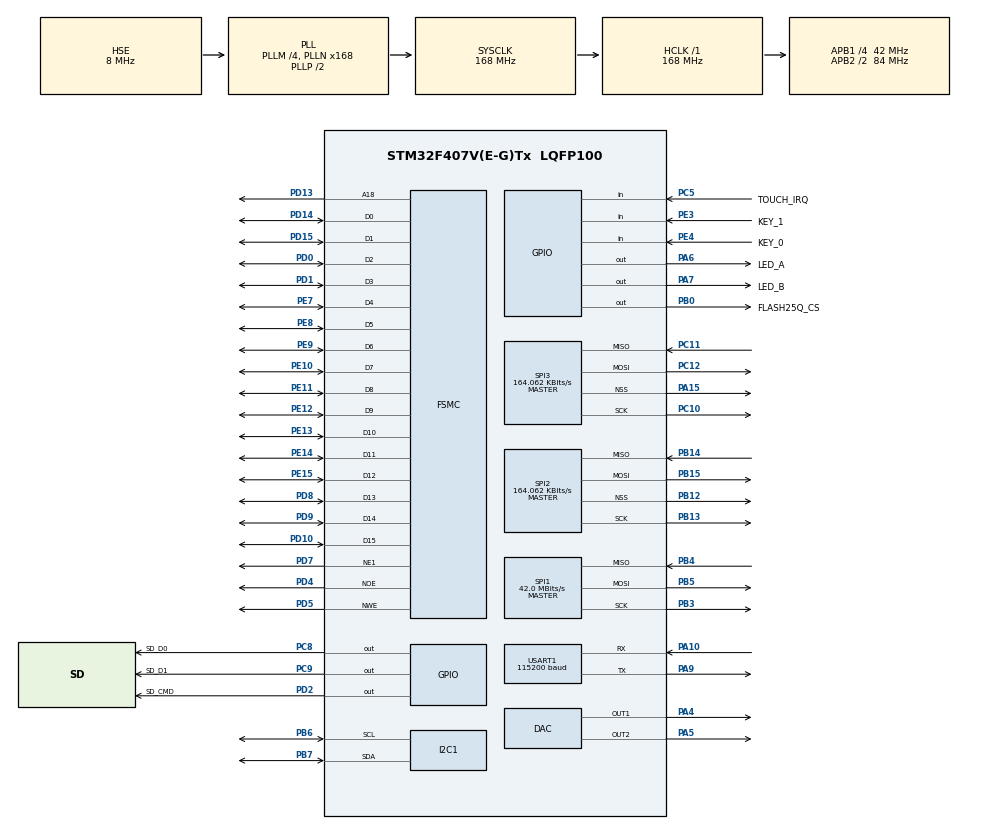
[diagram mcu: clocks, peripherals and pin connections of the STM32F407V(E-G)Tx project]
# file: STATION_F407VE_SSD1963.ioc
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DAC.DAC_Trigger=DAC_TRIGGER_T6_TRGO
DAC.DAC_Trigger2=DAC_TRIGGER_T7_TRGO
Dma.DAC1.0.Direction=DMA_MEMORY_TO_PERIPH
Dma.DAC1.0.FIFOMode=DMA_FIFOMODE_DISABLE
Dma.DAC1.0.Instance=DMA1_Stream5
Dma.DAC1.0.MemDataAlignment=DMA_MDATAALIGN_WORD
Dma.DAC1.0.MemInc=DMA_MINC_ENABLE
Dma.DAC1.0.Mode=DMA_CIRCULAR
Dma.DAC1.0.PeriphDataAlignment=DMA_PDATAALIGN_WORD
Dma.DAC1.0.PeriphInc=DMA_PINC_DISABLE
Dma.DAC1.0.Priority=DMA_PRIORITY_MEDIUM
Dma.DAC2.1.Direction=DMA_MEMORY_TO_PERIPH
Dma.DAC2.1.FIFOMode=DMA_FIFOMODE_DISABLE
Dma.DAC2.1.Instance=DMA1_Stream6
Dma.DAC2.1.MemDataAlignment=DMA_MDATAALIGN_WORD
Dma.DAC2.1.MemInc=DMA_MINC_ENABLE
Dma.DAC2.1.Mode=DMA_CIRCULAR
Dma.DAC2.1.PeriphDataAlignment=DMA_PDATAALIGN_WORD
Dma.DAC2.1.PeriphInc=DMA_PINC_DISABLE
Dma.DAC2.1.Priority=DMA_PRIORITY_LOW
Dma.Request0=DAC1
Dma.Request1=DAC2
FSMC.AddressSetupTime1=2
FSMC.BusTurnAroundDuration1=2
FSMC.DataSetupTime1=5
I2C1.GeneralCallMode=I2C_GENERALCALL_DISABLE
I2C1.I2C_Mode=I2C_Fast
IWDG.Prescaler=IWDG_PRESCALER_256
Mcu.Family=STM32F4
Mcu.Name=STM32F407V(E-G)Tx
Mcu.Package=LQFP100
NVIC.DMA1_Stream5_IRQn=true\:0\:0\:false\:false\:true\:false\:true
NVIC.DMA1_Stream6_IRQn=true\:0\:0\:false\:false\:true\:false\:true
NVIC.PriorityGroup=NVIC_PRIORITYGROUP_4
NVIC.TIM6_DAC_IRQn=true\:0\:0\:false\:false\:true\:true\:true
NVIC.TIM7_IRQn=true\:0\:0\:false\:false\:true\:true\:true
NVIC.USART1_IRQn=true\:0\:0\:false\:false\:true\:true\:true
PA0-WKUP.Signal=SYS_WKUP
PA10.Mode=Asynchronous
PA10.Signal=USART1_RX
PA13.Mode=Serial_Wire
PA13.Signal=SYS_JTMS-SWDIO
PA14.Mode=Serial_Wire
PA14.Signal=SYS_JTCK-SWCLK
PA15.Mode=NSS_Signal_Hard_Output
PA15.Signal=SPI3_NSS
PA4.Signal=COMP_DAC1_group
PA5.Signal=COMP_DAC2_group
PA6.GPIO_Label=LED_A
PA6.GPIO_ModeDefaultOutputPP=GPIO_MODE_OUTPUT_PP
PA6.GPIO_PuPd=GPIO_NOPULL
PA6.GPIO_Speed=GPIO_SPEED_FREQ_LOW
PA6.PinState=GPIO_PIN_SET
PA6.Signal=GPIO_Output
PA7.GPIO_Label=LED_B
PA7.GPIO_ModeDefaultOutputPP=GPIO_MODE_OUTPUT_PP
PA7.GPIO_PuPd=GPIO_NOPULL
PA7.GPIO_Speed=GPIO_SPEED_FREQ_LOW
PA7.PinState=GPIO_PIN_RESET
PA7.Signal=GPIO_Output
PA9.Mode=Asynchronous
PA9.Signal=USART1_TX
PB0.GPIO_Label=FLASH25Q_CS
PB0.GPIO_PuPd=GPIO_PULLUP
PB0.GPIO_Speed=GPIO_SPEED_FREQ_VERY_HIGH
PB0.PinState=GPIO_PIN_SET
PB0.Signal=GPIO_Output
PB12.Mode=NSS_Signal_Hard_Output
PB12.Signal=SPI2_NSS
PB13.Mode=Full_Duplex_Master
PB13.Signal=SPI2_SCK
PB14.Mode=Full_Duplex_Master
PB14.Signal=SPI2_MISO
PB15.Mode=Full_Duplex_Master
PB15.Signal=SPI2_MOSI
PB3.Mode=Full_Duplex_Master
PB3.Signal=SPI1_SCK
PB4.Mode=Full_Duplex_Master
PB4.Signal=SPI1_MISO
PB5.Mode=Full_Duplex_Master
PB5.Signal=SPI1_MOSI
PB6.GPIO_Pu=GPIO_PULLUP
PB6.Mode=I2C
PB6.Signal=I2C1_SCL
PB7.GPIO_Pu=GPIO_PULLUP
PB7.Mode=I2C
PB7.Signal=I2C1_SDA
PC10.GPIO_Mode=GPIO_MODE_AF_PP
PC10.GPIO_PuPd=GPIO_NOPULL
PC10.GPIO_Speed=GPIO_SPEED_FREQ_VERY_HIGH
PC10.Mode=Full_Duplex_Master
PC10.Signal=SPI3_SCK
PC11.GPIO_Mode=GPIO_MODE_AF_PP
PC11.GPIO_PuPd=GPIO_NOPULL
PC11.GPIO_Speed=GPIO_SPEED_FREQ_VERY_HIGH
PC11.Mode=Full_Duplex_Master
PC11.Signal=SPI3_MISO
PC12.GPIO_Mode=GPIO_MODE_AF_PP
PC12.GPIO_PuPd=GPIO_NOPULL
PC12.GPIO_Speed=GPIO_SPEED_FREQ_VERY_HIGH
PC12.Mode=Full_Duplex_Master
PC12.Signal=SPI3_MOSI
PC14-OSC32_IN.Mode=LSE-External-Oscillator
PC14-OSC32_IN.Signal=RCC_OSC32_IN
PC15-OSC32_OUT.Mode=LSE-External-Oscillator
PC15-OSC32_OUT.Signal=RCC_OSC32_OUT
PC5.GPIO_Label=TOUCH_IRQ
PC5.GPIO_PuPd=GPIO_PULLUP
PC5.Signal=GPIO_Input
PC8.GPIO_Label=SD_D0
PC8.GPIO_ModeDefaultOutputPP=GPIO_MODE_OUTPUT_PP
PC8.GPIO_PuPd=GPIO_NOPULL
PC8.GPIO_Speed=GPIO_SPEED_FREQ_LOW
PC8.PinState=GPIO_PIN_RESET
PC8.Signal=GPIO_Output
PC9.GPIO_Label=SD_D1
PC9.GPIO_ModeDefaultOutputPP=GPIO_MODE_OUTPUT_PP
PC9.GPIO_PuPd=GPIO_NOPULL
PC9.GPIO_Speed=GPIO_SPEED_FREQ_LOW
PC9.PinState=GPIO_PIN_RESET
PC9.Signal=GPIO_Output
PD0.Mode=16b-d1
PD0.Signal=FSMC_D2
PD1.Mode=16b-d1
PD1.Signal=FSMC_D3
PD10.Mode=16b-d1
PD10.Signal=FSMC_D15
PD13.Mode=A18_1
PD13.Signal=FSMC_A18
PD14.Mode=16b-d1
PD14.Signal=FSMC_D0
PD15.Mode=16b-d1
PD15.Signal=FSMC_D1
PD2.GPIO_Label=SD_CMD
PD2.GPIO_ModeDefaultOutputPP=GPIO_MODE_OUTPUT_PP
PD2.GPIO_PuPd=GPIO_NOPULL
PD2.GPIO_Speed=GPIO_SPEED_FREQ_LOW
PD2.PinState=GPIO_PIN_RESET
PD2.Signal=GPIO_Output
PD4.Mode=Lcd1
PD4.Signal=FSMC_NOE
PD5.Mode=Lcd1
PD5.Signal=FSMC_NWE
PD7.Mode=NorPsramChipSelect1_1
PD7.Signal=FSMC_NE1
PD8.Mode=16b-d1
PD8.Signal=FSMC_D13
PD9.Mode=16b-d1
PD9.Signal=FSMC_D14
PE10.Mode=16b-d1
PE10.Signal=FSMC_D7
PE11.Mode=16b-d1
PE11.Signal=FSMC_D8
PE12.Mode=16b-d1
PE12.Signal=FSMC_D9
PE13.Mode=16b-d1
PE13.Signal=FSMC_D10
PE14.Mode=16b-d1
PE14.Signal=FSMC_D11
PE15.Mode=16b-d1
PE15.Signal=FSMC_D12
PE3.GPIO_Label=KEY_1
PE3.GPIO_Mode=GPIO_MODE_INPUT
PE3.GPIO_PuPd=GPIO_NOPULL
PE3.Signal=GPIO_Input
PE4.GPIO_Label=KEY_0
PE4.GPIO_Mode=GPIO_MODE_INPUT
PE4.GPIO_PuPd=GPIO_NOPULL
PE4.Signal=GPIO_Input
PE7.Mode=16b-d1
PE7.Signal=FSMC_D4
PE8.Mode=16b-d1
PE8.Signal=FSMC_D5
PE9.Mode=16b-d1
PE9.Signal=FSMC_D6
PH0-OSC_IN.Mode=HSE-External-Oscillator
PH0-OSC_IN.Signal=RCC_OSC_IN
PH1-OSC_OUT.Mode=HSE-External-Oscillator
PH1-OSC_OUT.Signal=RCC_OSC_OUT
ProjectManager.HeapSize=0x400
ProjectManager.StackSize=0x800
ProjectManager.TargetToolchain=STM32CubeIDE
RCC.48MHZClocksFreq_Value=48000000
RCC.AHBFreq_Value=168000000
RCC.APB1CLKDivider=RCC_HCLK_DIV4
RCC.APB1Freq_Value=42000000
RCC.APB1TimFreq_Value=84000000
RCC.APB2CLKDivider=RCC_HCLK_DIV2
RCC.APB2Freq_Value=84000000
RCC.APB2TimFreq_Value=168000000
RCC.CortexFreq_Value=168000000
RCC.HCLKFreq_Value=168000000
RCC.HSE_VALUE=8000000
RCC.HSI_VALUE=16000000
RCC.PLLM=4
RCC.PLLN=168
RCC.PLLQ=7
RCC.PLLSourceVirtual=RCC_PLLSOURCE_HSE
RCC.RCC_MCO1Source=RCC_MCO1SOURCE_HSE
RCC.RCC_MCODiv1=RCC_MCODIV_4
RCC.RCC_RTC_Clock_Source=RCC_RTCCLKSOURCE_LSE
RCC.RCC_RTC_Clock_SourceVirtual=RCC_RTCCLKSOURCE_HSE_DIV8
RCC.RCC_RTC_Clock_Source_FROM_HSE=RCC_RTCCLKSOURCE_HSE_DIV8
RCC.SYSCLKFreq_VALUE=168000000
RCC.SYSCLKSource=RCC_SYSCLKSOURCE_PLLCLK
RCC.VCOOutputFreq_Value=336000000
RTC.Format=RTC_FORMAT_BIN
SH.COMP_DAC1_group.0=DAC_OUT1,DAC_OUT1
SH.COMP_DAC2_group.0=DAC_OUT2,DAC_OUT2
SPI1.CalculateBaudRate=42.0 MBits/s
SPI1.Direction=SPI_DIRECTION_2LINES
SPI1.Mode=SPI_MODE_MASTER
SPI1.VirtualType=VM_MASTER
SPI2.BaudRatePrescaler=SPI_BAUDRATEPRESCALER_256
SPI2.CalculateBaudRate=164.062 KBits/s
SPI2.Direction=SPI_DIRECTION_2LINES
SPI2.Mode=SPI_MODE_MASTER
SPI2.VirtualNSS=VM_NSSHARD
SPI2.VirtualType=VM_MASTER
SPI3.BaudRatePrescaler=SPI_BAUDRATEPRESCALER_256
SPI3.CalculateBaudRate=164.062 KBits/s
SPI3.Direction=SPI_DIRECTION_2LINES
SPI3.Mode=SPI_MODE_MASTER
SPI3.VirtualNSS=VM_NSSHARD
SPI3.VirtualType=VM_MASTER
TIM6.Period=10-1
TIM6.Prescaler=21-1
TIM6.TIM_MasterOutputTrigger=TIM_TRGO_UPDATE
TIM7.Period=10-1
TIM7.Prescaler=21-1
TIM7.TIM_MasterOutputTrigger=TIM_TRGO_UPDATE
USART1.BaudRate=115200
USART1.VirtualMode=VM_ASYNC
VP_IWDG_VS_IWDG.Mode=IWDG_Activate
VP_RTC_VS_RTC_Activate.Mode=RTC_Enabled
VP_RTC_VS_RTC_Calendar.Mode=RTC_Calendar
VP_TIM6_VS_ClockSourceINT.Mode=Enable_Timer
VP_TIM7_VS_ClockSourceINT.Mode=Enable_Timer
board=SSD1963_FSMC

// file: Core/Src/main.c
/* USER CODE BEGIN Header */
/**
 ******************************************************************************
 * @file           : main.c
 * @brief          : Main program body
 ******************************************************************************
 * @attention
 *
 * Copyright (c) 2022 STMicroelectronics.
 * All rights reserved.
 *
 * This software is licensed under terms that can be found in the LICENSE file
 * in the root directory of this software component.
 * If no LICENSE file comes with this software, it is provided AS-IS.
 *
 ******************************************************************************
 */
/* USER CODE END Header */
#include "main.h"

/* USER CODE BEGIN Includes */
#define DWT_CYCCNT *(volatile unsigned long *)0xE0001004
#define DWT_CONTROL *(volatile unsigned long *)0xE0001000
#define SCB_DEMCR *(volatile unsigned long *)0xE000EDFC

#include <stdio.h>
#include <math.h>
#include "string.h"
#include "ssd1963.h"
#include "xpt2046.h"
#include "i2c.h"
#include "bme280.h"
#include "ds3231.h"
#include "at24.h"
#include "w25q.h"
#include "fonts/DejaVu_Sans/008_DejaVu_Sans.h"
#include "fonts/DejaVu_Sans/009_DejaVu_Sans.h"
#include "fonts/DejaVu_Sans/010_DejaVu_Sans.h"
#include "fonts/DejaVu_Sans/011_DejaVu_Sans.h"
#include "fonts/DejaVu_Sans/012_DejaVu_Sans.h"
#include "fonts/DejaVu_Sans/014_DejaVu_Sans.h"
#include "fonts/DejaVu_Sans/016_DejaVu_Sans.h"
#include "fonts/DejaVu_Sans/018_DejaVu_Sans.h"
#include "fonts/DejaVu_Sans/020_DejaVu_Sans.h"
#include "fonts/DejaVu_Sans/022_DejaVu_Sans.h"
#include "fonts/DejaVu_Sans/024_DejaVu_Sans.h"
#include "fonts/DejaVu_Sans/026_DejaVu_Sans.h"
#include "fonts/DejaVu_Sans/028_DejaVu_Sans.h"
#include "fonts/DejaVu_Sans/036_DejaVu_Sans.h"
#include "fonts/DejaVu_Sans/048_DejaVu_Sans.h"
#include "fonts/DejaVu_Sans/072_DejaVu_Sans.h"
#include "fonts/DejaVu_Sans/096_DejaVu_Sans.h"
#include "fonts/DejaVu_Sans/112_DejaVu_Sans.h"
#include "fonts/DejaVu_Sans/128_DejaVu_Sans.h"
/* USER CODE END Includes */

/* USER CODE BEGIN PD */
#define MIN_TEMPERATURE_X10 200
#define MAX_TEMPERATURE_X10 328

#define MIN_HUMIDITY_X10 100
#define MAX_HUMIDITY_X10 868

#define MIN_PRESSURE_X10  9300
#define MAX_PRESSURE_X10 10580

#define UART_RX_BUFFER_SIZE 16
#define UART_TX_BUFFER_SIZE 10000

#define WAIT_REMOTE_SENSOR_SEC 100
/* USER CODE END PD */

/* USER CODE BEGIN PM */
double map(uint16_t x, uint16_t in_min, uint16_t in_max, uint16_t out_min, uint16_t out_max) {
	return (x - in_min) * (out_max - out_min) / (in_max - in_min) + out_min;
}

uint8_t byteL(uint16_t val) {
	return (val & 0xFF);
}

uint8_t byteH(uint16_t val) {
	return ((val >> 8) & 0xFF);
}

uint16_t byteS(uint8_t byteL, uint8_t byteH) {
	return (byteH << 8) | byteL;
}
/* USER CODE END PM */

DAC_HandleTypeDef hdac;
DMA_HandleTypeDef hdma_dac1;
DMA_HandleTypeDef hdma_dac2;

I2C_HandleTypeDef hi2c1;

IWDG_HandleTypeDef hiwdg;

RTC_HandleTypeDef hrtc;

SPI_HandleTypeDef hspi1;
SPI_HandleTypeDef hspi2;
SPI_HandleTypeDef hspi3;

TIM_HandleTypeDef htim6;
TIM_HandleTypeDef htim7;

UART_HandleTypeDef huart1;

SRAM_HandleTypeDef hsram1;

/* USER CODE BEGIN PV */

RTC_TimeTypeDef clockTime;
RTC_DateTypeDef clockDate;

uint8_t viewGraphs;
uint8_t rtcSec, rtcMin, rtcHrs, rtcDate, rtcMonth, rtcWeekD, rtcYear;
uint8_t rtcSecLast = 61, rtcMinLast = 61, rtcHrsLast = 25, rtcWeekDLast, rtcDateLast, rtcMonthLast, rtcYearLast;
double temperature, temperatureLast, humidity, humidityLast, temperatureRemote, temperatureRemoteLast, humidityRemote, humidityRemoteLast;
uint16_t pressure, pressureLast, remoteSensorLastUpdate = WAIT_REMOTE_SENSOR_SEC + 1;
int16_t hT[500], hH[500], hP[500];
uint64_t millis, delay;
/* USER CODE END PV */

void SystemClock_Config(void);
static void MX_GPIO_Init(void);
static void MX_FSMC_Init(void);
static void MX_USART1_UART_Init(void);
static void MX_SPI3_Init(void);
static void MX_SPI2_Init(void);
static void MX_DAC_Init(void);
static void MX_SPI1_Init(void);
static void MX_I2C1_Init(void);
static void MX_IWDG_Init(void);
static void MX_DMA_Init(void);
static void MX_RTC_Init(void);
static void MX_TIM6_Init(void);
static void MX_TIM7_Init(void);

/* USER CODE BEGIN 0 */
float value = 0.2;

uint32_t var;

uint32_t sine_val[100];

#define PI 3.1415926

void get_sineval () {
	for (int i = 0; i<100; i++) sine_val[i] = ((sin(i*2*PI/100) + 1)* (4096/2));
}

//void delay_us (uint16_t us)
//{
//	__HAL_TIM_SET_COUNTER(&htim2,0);
//	while (__HAL_TIM_GET_COUNTER(&htim2) < us);
//}

uint8_t rx_buffer[UART_RX_BUFFER_SIZE];
uint8_t rx_index = 0;
uint8_t rx_data;

void HAL_UART_RxCpltCallback(UART_HandleTypeDef *huart) {
	if (huart->Instance == USART1) {
		rx_buffer[rx_index++] = rx_data;
		HAL_UART_Receive_IT(&huart1, &rx_data, 1);
		//		HAL_UART_Receive_DMA(&huart1, &rx_data, 1);
	}
}
/* USER CODE END 0 */

int main(void)
{

	/* MCU Configuration--------------------------------------------------------*/

	/* Reset of all peripherals, Initializes the Flash interface and the Systick. */
	HAL_Init();

	/* Configure the system clock */
	SystemClock_Config();

	/* USER CODE BEGIN SysInit */
	//	__HAL_RCC_I2C1_CLK_ENABLE();
	//	HAL_Delay(100);
	//	__HAL_RCC_I2C1_FORCE_RESET();
	//	HAL_Delay(100);
	//	__HAL_RCC_I2C1_RELEASE_RESET();
	//	HAL_Delay(100);
	/* USER CODE END SysInit */

	/* Initialize all configured peripherals */
	MX_GPIO_Init();
	MX_DMA_Init();
	MX_FSMC_Init();
	MX_USART1_UART_Init();
	MX_SPI3_Init();
	MX_SPI2_Init();
	MX_DAC_Init();
	MX_SPI1_Init();
	MX_I2C1_Init();
	MX_IWDG_Init();
	MX_DMA_Init();
	MX_RTC_Init();
	MX_TIM6_Init();
	MX_TIM7_Init();
	/* USER CODE BEGIN 2 */
	HAL_TIM_Base_Start(&htim6);
	HAL_TIM_Base_Start(&htim7);
	get_sineval();
	HAL_DAC_Start_DMA(&hdac, DAC_CHANNEL_1, sine_val, 100, DAC_ALIGN_12B_R);
	HAL_DAC_Start_DMA(&hdac, DAC_CHANNEL_2, sine_val, 100, DAC_ALIGN_12B_R);
	HAL_Delay(500);
	HAL_DAC_Stop(&hdac, DAC_CHANNEL_1);
	HAL_DAC_Stop(&hdac, DAC_CHANNEL_2);

	HAL_RTC_Init(&hrtc);
	uint8_t uart_tx_new[] = "\r\n";
	HAL_UART_Transmit(&huart1, uart_tx_new, sizeof(uart_tx_new), 100);
	I2C_Init(&hi2c1);
	I2C_Scan_Bus(&hi2c1);
	HAL_UART_Transmit(&huart1, uart_tx_new, sizeof(uart_tx_new), 100);
	W25Q_Init();
	HAL_UART_Transmit(&huart1, uart_tx_new, sizeof(uart_tx_new), 100);
	BME280_Init();
	LCD_Init();
	XPT2046_Init();

	DS3231_Update(); rtcSec = DS3231_getSec(); rtcMin = DS3231_getMin(); rtcHrs = DS3231_getHrs();
	rtcDate = DS3231_getDate(); rtcMonth = DS3231_getMonth(); rtcYear = DS3231_getYear(); rtcWeekD = DS3231_getWeekDay();

	HAL_RTC_GetTime(&hrtc, &clockTime, RTC_FORMAT_BIN);
	HAL_RTC_GetDate(&hrtc, &clockDate, RTC_FORMAT_BIN);

	if (!clockDate.Year) {
		clockTime.Hours = rtcHrs;
		clockTime.Minutes = rtcMin;
		clockTime.Seconds = rtcSec +1;
		HAL_RTC_SetTime(&hrtc, &clockTime, RTC_FORMAT_BIN);
		clockDate.Date = rtcDate;
		clockDate.Month = rtcMonth;
		clockDate.Year = rtcYear;
		clockDate.WeekDay = rtcWeekD;
		HAL_RTC_SetDate(&hrtc, &clockDate, RTC_FORMAT_BIN);
	}

	char uart_tx[45];
	static const char* weekdays[7] = { "MO", "TU", "WE", "TH", "FR", "SA", "SU" };
	HAL_RTC_GetTime(&hrtc, &clockTime, RTC_FORMAT_BIN);
	snprintf(uart_tx, 45, "INTRTC Time: %02d:%02d:%02d ", clockTime.Hours, clockTime.Minutes, clockTime.Seconds);
	HAL_RTC_GetDate(&hrtc, &clockDate, RTC_FORMAT_BIN);
	HAL_UART_Transmit(&huart1, (uint8_t*)uart_tx, strlen(uart_tx), 100);
	snprintf(uart_tx, 45, "Date: %02d.%02d.20%02d ", clockDate.Date, clockDate.Month, clockDate.Year);
	HAL_UART_Transmit(&huart1, (uint8_t*)uart_tx, strlen(uart_tx), 100);
	snprintf(uart_tx, 45, "%s \r\n", weekdays[(7 + clockDate.WeekDay - 1) % 7]);
	HAL_UART_Transmit(&huart1, (uint8_t*)uart_tx, strlen(uart_tx), 100);

	if (!rtcYear) {
		DS3231_Update();
		DS3231_setHrs(clockTime.Hours);
		DS3231_setMin(clockTime.Minutes);
		DS3231_setSec(clockTime.Seconds);
		DS3231_setDate(clockDate.Date);
		DS3231_setMonth(clockDate.Month);
		DS3231_setYear(clockDate.Year);
		DS3231_setWeekDay(clockDate.WeekDay);
	}

	DS3231_Update(); rtcSec = DS3231_getSec(); rtcMin = DS3231_getMin(); rtcHrs = DS3231_getHrs();
	rtcDate = DS3231_getDate(); rtcMonth = DS3231_getMonth(); rtcYear = DS3231_getYear(); rtcWeekD = DS3231_getWeekDay();

	snprintf(uart_tx, 45, "DS3231 Time: %02d:%02d:%02d ", rtcHrs, rtcMin, rtcSec);
	HAL_UART_Transmit(&huart1, (uint8_t*)uart_tx, strlen(uart_tx), 100);
	snprintf(uart_tx, 45, "Date: %02d.%02d.20%02d ", rtcDate, rtcMonth, rtcYear);
	HAL_UART_Transmit(&huart1, (uint8_t*)uart_tx, strlen(uart_tx), 100);
	snprintf(uart_tx, 45, "%s \r\n", weekdays[(7 + rtcWeekD - 1) % 7]);
	HAL_UART_Transmit(&huart1, (uint8_t*)uart_tx, strlen(uart_tx), 100);

	temperature = BME280_getTemperature(-1);
	humidity = BME280_getHumidity(-1);
	pressure = (uint16_t)BME280_getPressure();
	snprintf(uart_tx, 45, "BME280 T: %.1f 'C | H: %.1f %% | P: %04d HPa \r\n", temperature, humidity, pressure);
	HAL_UART_Transmit(&huart1, uart_tx_new, sizeof(uart_tx_new), 100);
	HAL_UART_Transmit(&huart1, (uint8_t*)uart_tx, strlen(uart_tx), 100);
	HAL_UART_Transmit(&huart1, uart_tx_new, sizeof(uart_tx_new), 100);

	LCD_Rect_Fill(0, 0, 800, 480, BLUE);
	LCD_Rect_Fill(1, 1, 798, 478, BLACK);

	//	W25Q_Erase_Chip;
	//	for (uint16_t i = 0; i < 4096; i++) AT24XX_Update(i, 0);

	//	uint8_t flashIN[] = "W25Q IS OK \r\n";
	//	W25Q_Save_Page(15, flashIN, 10);

	//	uint8_t flashOUT[10] = {0};
	//	W25Q_Load_Page(15, flashOUT, 10);
	//	HAL_UART_Transmit(&huart1, flashOUT, sizeof(flashOUT), 100);

	for (uint16_t i = 0; i < 499; i++) hT[i] =  byteS(AT24XX_Read(i * 2 + 1000), AT24XX_Read(i * 2 + 1 + 1000));
	for (uint16_t i = 0; i < 499; i++) hH[i] =  byteS(AT24XX_Read(i * 2 + 2000), AT24XX_Read(i * 2 + 1 + 2000));
	for (uint16_t i = 0; i < 499; i++) hP[i] =  byteS(AT24XX_Read(i * 2 + 3000), AT24XX_Read(i * 2 + 1 + 3000));

	//	HAL_TIM_PWM_Start(&htim1, TIM_CHANNEL_1);

	//	uint8_t uartTransmit[] = "UART OK\r\n";
	//	HAL_UART_Transmit(&huart1, uartTransmit, sizeof(uartTransmit), 100);

	//	uint8_t uartTransmit_IT[] = "UART INTERRUPT OK\r\n";
	//	HAL_UART_Transmit_IT(&huart1, uartTransmit_IT, sizeof(uartTransmit_IT));
	//
	//	uint8_t uartTransmit_DMA[] = "UART DMA OK\r\n";
	//	HAL_UART_Transmit_DMA(&huart1, uartTransmit_DMA, sizeof(uartTransmit_DMA));
	//
	//	HAL_UART_Receive_IT(&huart1, &rx_data, UART_RX_BUFFER_SIZE);
	//	HAL_UART_Receive_DMA (&huart1, rx_buffer, UART_RX_BUFFER_SIZE);

	/* USER CODE END 2 */

	/* Infinite loop */
	/* USER CODE BEGIN WHILE */
	while (1) {
		HAL_IWDG_Refresh(&hiwdg); //IWDG->KR = 0x0000AAAAU;
//		if (HAL_I2C_Init(&hi2c1) != HAL_OK) I2C_Init(&hi2c1);

		//		HAL_RTC_GetTime(&hrtc, &clockTime, RTC_FORMAT_BIN);
		//		rtcSec = clockTime.Seconds;
		//		rtcMin = clockTime.Minutes;
		//		rtcHrs = clockTime.Hours;
		//		HAL_RTC_GetDate(&hrtc, &clockDate, RTC_FORMAT_BIN);
		//		rtcDate = clockDate.Date;
		//		rtcMonth = clockDate.Month;
		//		rtcYear = clockDate.Year;
		//		rtcWeekD = clockDate.WeekDay;

		DS3231_Update(); rtcSec = DS3231_getSec(); rtcMin = DS3231_getMin(); rtcHrs = DS3231_getHrs();
		rtcDate = DS3231_getDate(); rtcMonth = DS3231_getMonth(); rtcYear = DS3231_getYear(); rtcWeekD = DS3231_getWeekDay();

		if (HAL_GPIO_ReadPin(GPIOC, GPIO_PIN_5) == GPIO_PIN_SET) {

			uint16_t touchX = getX();
			uint16_t touchY = getY();
			if (touchX && touchY && touchX != 0x0DB) {
				LCD_Rect_Fill(touchX, touchY, 1, 1, WHITE);
			}
			HAL_GPIO_WritePin(GPIOA, GPIO_PIN_7, GPIO_PIN_SET);
			touchX = 0;
			touchY = 0;
		} else
			HAL_GPIO_WritePin(GPIOA, GPIO_PIN_7, GPIO_PIN_RESET);

		if (rtcSec % 2 == 0)
			HAL_GPIO_WritePin(GPIOA, GPIO_PIN_6, GPIO_PIN_SET);
		else
			HAL_GPIO_WritePin(GPIOA, GPIO_PIN_6, GPIO_PIN_RESET);

		char clockPrint[13];

		if (rtcSecLast != rtcSec) {

			sprintf(clockPrint, "%02d", rtcSecLast);
			LCD_Font(630, 85, clockPrint, &DejaVu_Sans_112, 1, BLACK);
			sprintf(clockPrint, "%02d", rtcSec);
			LCD_Font(630, 85, clockPrint, &DejaVu_Sans_112, 1, ORANGE);

			LCD_Circle(300, 60, 10, 0, 1, ORANGE);
			LCD_Circle(300, 120, 10, 0, 1, ORANGE);

			if (rtcSec % 2 != 0) {
				LCD_Circle(300, 60, 9, 1, 1, ORANGE);
				LCD_Circle(300, 120, 9, 1, 1, ORANGE);
				HAL_GPIO_WritePin(GPIOC, GPIO_PIN_13, GPIO_PIN_RESET);
			}
			else {
				LCD_Circle(300, 60, 9, 1, 1, BLACK);
				LCD_Circle(300, 120, 9, 1, 1, BLACK);
				HAL_GPIO_WritePin(GPIOC, GPIO_PIN_13, GPIO_PIN_SET);
			}

			if (rtcMinLast != rtcMin) {

				sprintf(clockPrint, "%02d", rtcMinLast);
				LCD_Font(310, 170, clockPrint, &DejaVu_Sans_112, 2, BLACK);
				sprintf(clockPrint, "%02d", rtcMin);
				LCD_Font(310, 170, clockPrint, &DejaVu_Sans_112, 2, ORANGE);

				if (rtcHrsLast != rtcHrs) {

					sprintf(clockPrint, "%02d", rtcHrsLast);
					LCD_Font(0, 170, clockPrint, &DejaVu_Sans_112, 2, BLACK);
					sprintf(clockPrint, "%02d", rtcHrs);
					LCD_Font(0, 170, clockPrint, &DejaVu_Sans_112, 2, ORANGE);

					if (rtcWeekDLast != rtcWeekD) {

						static const char* days[7] = { "MO", "TU", "WE", "TH", "FR", "SA", "SU" };
						LCD_Font(710, 125, days[(7 + rtcWeekD - 2) % 7], &DejaVu_Sans_48, 1, BLACK);
						LCD_Font(710, 125, days[(7 + rtcWeekD - 1) % 7], &DejaVu_Sans_48, 1, CYAN);

						static const char* months[12] = { "JAN", "FEB", "MAR", "APR", "MAY", "JUN", "JUL", "AUG", "SEP", "OCT", "NOV", "DEC" };

						LCD_Font(600, 125, months[(12 + rtcMonth - 2) % 12], &DejaVu_Sans_48, 1, BLACK);
						LCD_Font(600, 125, months[(12 + rtcMonth - 1) % 12], &DejaVu_Sans_48, 1, CYAN);

						sprintf(clockPrint, "%02d.%02d.%02d", rtcDateLast, rtcMonthLast, rtcYearLast);
						LCD_Font(578, 175, clockPrint, &DejaVu_Sans_48, 1, BLACK);
						sprintf(clockPrint, "%02d.%02d.%02d", rtcDate, rtcMonth, rtcYear);
						LCD_Font(578, 175, clockPrint, &DejaVu_Sans_48, 1, CYAN);

						rtcWeekDLast = rtcWeekD;
						rtcDateLast = rtcDate;
					}
					rtcMonthLast = rtcMonth;
					rtcYearLast = rtcYear;
					rtcHrsLast = rtcHrs;
				}
				rtcMinLast = rtcMin;
				temperature = BME280_getTemperature(-1);
				humidity = BME280_getHumidity(-1);
				pressure = (uint16_t)BME280_getPressure();

				if (pressure > 900 && pressure < 1100 && temperature < 85 && temperature > -40 && humidity > 0 && humidity < 100) {

					if (temperature != temperatureLast) {

						LCD_Rect(1, 182, 265, 40, 1, BLUE);

						char weatherPrintT[7];

						if (temperatureLast >= 10 || (temperatureLast < 0 && temperatureLast > -10)) {
							sprintf(weatherPrintT, "%.1f 'C", temperatureLast);
							LCD_Font(61, 220, weatherPrintT, &DejaVu_Sans_48, 1, BLACK);
						}
						else if (temperatureLast < 10 && temperatureLast > 0) {
							sprintf(weatherPrintT, "%.1f 'C", temperatureLast);
							LCD_Font(87, 220, weatherPrintT, &DejaVu_Sans_48, 1, BLACK);
						}
						else if (temperatureLast <= -10) {
							sprintf(weatherPrintT, "%2d 'C", (int8_t)temperatureLast);
							LCD_Font(61, 220, weatherPrintT, &DejaVu_Sans_48, 1, BLACK);
						}

						if (temperature >= 10 || (temperature < 0 && temperature > -10)) {
							sprintf(weatherPrintT, "%.1f 'C", temperature);
							LCD_Font(61, 220, weatherPrintT, &DejaVu_Sans_48, 1, ORANGE);
						}
						else if (temperature < 10 && temperature > 0) {
							sprintf(weatherPrintT, "%.1f 'C", temperature);
							LCD_Font(87, 220, weatherPrintT, &DejaVu_Sans_48, 1, ORANGE);
						}
						else if (temperature <= -10) {
							sprintf(weatherPrintT, "%2d 'C", (int8_t)temperature);
							LCD_Font(61, 220, weatherPrintT, &DejaVu_Sans_48, 1, ORANGE);
						}

						temperatureLast = temperature;
					}

					if (humidity != humidityLast) {

						LCD_Rect(267, 182, 265, 40, 1, BLUE);

						char weatherPrintH[8];

						sprintf(weatherPrintH, "%.1f H2O", humidityLast);
						if (humidityLast >= 10)
							LCD_Font(297, 220, weatherPrintH, &DejaVu_Sans_48, 1, BLACK);
						else LCD_Font(323, 220, weatherPrintH, &DejaVu_Sans_48, 1, BLACK);

						sprintf(weatherPrintH, "%.1f H2O", humidity);
						if (humidity >= 10)
							LCD_Font(297, 220, weatherPrintH, &DejaVu_Sans_48, 1, CYAN);
						else LCD_Font(323, 220, weatherPrintH, &DejaVu_Sans_48, 1, CYAN);

						humidityLast = humidity;
					}

					if (pressureLast != pressure) {

						LCD_Rect(533, 182, 265, 40, 1, BLUE);

						char weatherPrintP[11];

						if (pressureLast >= 1000) {
							sprintf(weatherPrintP, "%02d HPa", pressureLast);
							LCD_Font(555, 220, weatherPrintP, &DejaVu_Sans_48, 1, BLACK);
						}
						else {
							sprintf(weatherPrintP, " %02d HPa", pressureLast);
							LCD_Font(555, 220, weatherPrintP, &DejaVu_Sans_48, 1, BLACK);
						}

						pressureLast = pressure;

						if (pressureLast >= 1000) {
							sprintf(weatherPrintP, "%02d HPa", pressureLast);
							LCD_Font(555, 220, weatherPrintP, &DejaVu_Sans_48, 1, GREEN);
						}
						else {
							sprintf(weatherPrintP, " %02d HPa", pressureLast);
							LCD_Font(555, 220, weatherPrintP, &DejaVu_Sans_48, 1, GREEN);
						}
					}

					if (AT24XX_Read(0) != rtcHrs) {

						AT24XX_Update(0, rtcHrs);

						for (uint16_t i = 0; i < 499; i++) hT[i] = byteS(AT24XX_Read(i * 2 + 1000), AT24XX_Read(i * 2 + 1 + 1000));
						for (uint16_t i = 498; i > 0; i--) hT[i] = hT[i - 1];
						hT[0] = (uint16_t) (temperature * 10);

						for (uint16_t i = 0; i < 499; i++) {
							AT24XX_Update(i * 2 + 1000, byteL(hT[i]));
							AT24XX_Update(i * 2 + 1 + 1000, byteH(hT[i]));
						}

						for (uint16_t i = 0; i < 499; i++) hH[i] = byteS(AT24XX_Read(i * 2 + 2000), AT24XX_Read(i * 2 + 1 + 2000));
						for (uint16_t i = 498; i > 0; i--) hH[i] = hH[i - 1];
						hH[0] = (uint16_t) (humidity * 10);

						for (uint16_t i = 0; i < 499; i++) {
							AT24XX_Update(i * 2 + 2000, byteL(hH[i]));
							AT24XX_Update(i * 2 + 1 + 2000, byteH(hH[i]));
						}

						for (uint16_t i = 0; i < 499; i++) hP[i] = byteS(AT24XX_Read(i * 2 + 3000), AT24XX_Read(i * 2 + 1 + 3000));
						for (uint16_t i = 498; i > 0; i--) hP[i] = hP[i - 1];
						hP[0] = (uint16_t) (pressure * 10);

						for (uint16_t i = 0; i < 499; i++) {
							AT24XX_Update(i * 2 + 3000, byteL(hP[i]));
							AT24XX_Update(i * 2 + 1 + 3000, byteH(hP[i]));
						}

						viewGraphs = 0;
					}

					LCD_Rect(1, 222, 265, 256, 1, BLUE);
					int16_t valMap = map(((int16_t)(temperature * 10)), MIN_TEMPERATURE_X10, MAX_TEMPERATURE_X10, 0, 255);
					if (valMap < 0) valMap = 0;
					if (valMap > 255) valMap = 255;
					LCD_Line(2 + 263, 223, 2 + 263, 477, 1, BLACK);
					if (valMap)
						LCD_Line(2 + 263, 223 + (255 - valMap), 2 + 263, 477, 1,
								RGB(255 - (255 - valMap), 0, 255 - (255 - (255 - valMap))));

					LCD_Rect(267, 222, 265, 256, 1, BLUE);
					valMap = map(((int16_t)(humidity * 10)), MIN_HUMIDITY_X10, MAX_HUMIDITY_X10, 0, 255);
					if (valMap < 0) valMap = 0;
					if (valMap > 255) valMap = 255;
					LCD_Line(268 + 263, 223, 268 + 263, 477, 1, BLACK);
					if (valMap)
						LCD_Line(268 + 263, 223 + (255 - valMap), 268 + 263, 477, 1,
								RGB(255 - (255 - valMap), 0, 255 - (255 - (255 - valMap))));

					LCD_Rect(533, 222, 265, 256, 1, BLUE);
					valMap = map(((int16_t)(pressure * 10)), MIN_PRESSURE_X10, MAX_PRESSURE_X10, 0, 255);
					if (valMap < 0) valMap = 0;
					if (valMap > 255) valMap = 255;
					LCD_Line(534 + 263, 223, 534 + 263, 477, 1, BLACK);
					if (valMap)
						LCD_Line(534 + 263, 223 + (255 - valMap), 534 + 263, 477, 1,
								RGB(255 - (255 - valMap), 0, 255 - (255 - (255 - valMap))));

					if (!viewGraphs) {

						for (uint16_t i = 0; i < 263 ; i++) {
							valMap = map(((int16_t)hT[i]), MIN_TEMPERATURE_X10, MAX_TEMPERATURE_X10, 0, 255);
							if (valMap < 0) valMap = 0;
							if (valMap > 255) valMap = 255;
							LCD_Line(2 + (262 - i), 223, 2 + (262 - i), 477, 1, BLACK);
							if (valMap)
								LCD_Line(2 + (262 - i), 223 + (255 - valMap), 2 + (262 - i), 477, 1,
										RGB(255 - (255 - valMap), 0, 255 - (255 - (255 - valMap))));
						}

						for (uint16_t i = 0; i < 263 ; i++) {
							valMap = map(((int16_t)hH[i]), MIN_HUMIDITY_X10, MAX_HUMIDITY_X10, 0, 255);
							if (valMap < 0) valMap = 0;
							if (valMap > 255) valMap = 255;
							LCD_Line(268 + (262 - i), 223, 268 + (262 - i), 477, 1, BLACK);
							if (valMap)
								LCD_Line(268 + (262 - i), 223 + (255 - valMap), 268 + (262 - i), 477, 1,
										RGB(255 - (255 - valMap), 0, 255 - (255 - (255 - valMap))));
						}

						for (uint16_t i = 0; i < 263 ; i++) {
							valMap = map(((int16_t)hP[i]), MIN_PRESSURE_X10, MAX_PRESSURE_X10, 0, 255);
							if (valMap < 0) valMap = 0;
							if (valMap > 255) valMap = 255;
							LCD_Line(534 + (262 - i), 223, 534 + (262 - i), 477, 1, BLACK);
							if (valMap)
								LCD_Line(534 + (262 - i), 223 + (255 - valMap), 534 + (262 - i), 477, 1,
										RGB(255 - (255 - valMap), 0, 255 - (255 - (255 - valMap))));
						}

//						for (uint32_t i = 0; i <= 65536; i++) TIM1->CCR1 = i;
						HAL_DAC_Start_DMA(&hdac, DAC_CHANNEL_1, sine_val, 100, DAC_ALIGN_12B_R);
						HAL_DAC_Start_DMA(&hdac, DAC_CHANNEL_2, sine_val, 100, DAC_ALIGN_12B_R);
						delay = millis;
						if (millis - 500 > delay) {
							HAL_DAC_Stop(&hdac, DAC_CHANNEL_1);
							HAL_DAC_Stop(&hdac, DAC_CHANNEL_2);
							delay = 0;
						}
						viewGraphs = 1;
					}
				}
			}

			if (rx_index != 0) {
				if (memcmp(rx_buffer, "TS", 2) == 0) {

					char val[2];

					val[0] = rx_buffer[2];
					val[1] = rx_buffer[3];
					DS3231_setHrs(atoi(val));

					val[0] = rx_buffer[4];
					val[1] = rx_buffer[5];
					DS3231_setMin(atoi(val));

					val[0] = 0;
					val[1] = 0;
					DS3231_setSec(atoi(val));

					val[0] = rx_buffer[6];
					val[1] = rx_buffer[7];
					DS3231_setDate(atoi(val));

					val[0] = rx_buffer[8];
					val[1] = rx_buffer[9];
					DS3231_setMonth(atoi(val));

					val[0] = rx_buffer[10];
					val[1] = rx_buffer[11];
					DS3231_setYear(atoi(val));

					val[1] = rx_buffer[12];
					DS3231_setWeekDay(atoi(val));

//					for (uint32_t i = 0; i <= 65536; i++) TIM1->CCR1 = i;
					HAL_DAC_Start_DMA(&hdac, DAC_CHANNEL_1, sine_val, 100, DAC_ALIGN_12B_R);
					HAL_DAC_Start_DMA(&hdac, DAC_CHANNEL_2, sine_val, 100, DAC_ALIGN_12B_R);
					delay = millis;
					if (millis - 500 > delay) {
						HAL_DAC_Stop(&hdac, DAC_CHANNEL_1);
						HAL_DAC_Stop(&hdac, DAC_CHANNEL_2);
						delay = 0;
					}
				}

				if (memcmp(rx_buffer, "CE", 2) == 0) {
					for (uint16_t i = 0; i < 4096; i++) AT24XX_Update(i, 0);
					uint8_t uartTransmit[] = "EEPROM IS CLEANED\r\n";
					HAL_UART_Transmit(&huart1, uartTransmit, sizeof(uartTransmit), 100);
				}

				if (memcmp(rx_buffer, "RS", 2) == 0) {

					char valT[4] = { 0 };

					for (uint8_t i = 0; i < 4; i++) valT[i] = rx_buffer[2 + i];

					temperatureRemote = atoi(valT);
					temperatureRemote = temperatureRemote / 10;

					char valH[3] = { 0 };

					for (uint8_t i = 0; i < 3; i++) valH[i] = rx_buffer[6 + i];

					humidityRemote = atoi(valH);
					humidityRemote = humidityRemote / 10;

					if ((temperatureRemote != temperatureRemoteLast && temperatureRemote < 85 && temperatureRemote > -40) ||
							(humidityRemote != humidityRemoteLast && humidityRemote > 0)) {

						remoteSensorLastUpdate = 0;

						sprintf(clockPrint, "%02d", rtcSecLast);
						LCD_Font(375, 40, clockPrint, &DejaVu_Sans_48, 1, BLACK);

						char weatherPrintRemoteT[5];
						if (temperatureRemoteLast <= -10) {
							sprintf(weatherPrintRemoteT, "%.1f", temperatureRemoteLast);
							LCD_Font(353, 90, weatherPrintRemoteT, &DejaVu_Sans_48, 1, BLACK);
						}
						else if (temperatureRemoteLast < 0 && temperatureRemoteLast > -10) {
							sprintf(weatherPrintRemoteT, "%.1f", temperatureRemoteLast);
							LCD_Font(385, 90, weatherPrintRemoteT, &DejaVu_Sans_48, 1, BLACK);
						}
						else if (temperatureRemoteLast > 0 && temperatureRemoteLast < 10) {
							sprintf(weatherPrintRemoteT, "+%.1f", temperatureRemoteLast);
							LCD_Font(362, 90, weatherPrintRemoteT, &DejaVu_Sans_48, 1, BLACK);
						}
						else if (temperatureRemoteLast >= 10) {
							sprintf(weatherPrintRemoteT, "+%.1f", temperatureRemoteLast);
							LCD_Font(330, 90, weatherPrintRemoteT, &DejaVu_Sans_48, 1, BLACK);
						}
						temperatureRemoteLast = temperatureRemote;
						if (temperatureRemoteLast <= -10) {
							sprintf(weatherPrintRemoteT, "%.1f", temperatureRemoteLast);
							LCD_Font(353, 90, weatherPrintRemoteT, &DejaVu_Sans_48, 1, CYAN);
						}
						else if (temperatureRemoteLast < 0 && temperatureRemoteLast > -10) {
							sprintf(weatherPrintRemoteT, "%.1f", temperatureRemoteLast);
							LCD_Font(385, 90, weatherPrintRemoteT, &DejaVu_Sans_48, 1, CYAN);
						}
						else if (temperatureRemoteLast > 0 && temperatureRemoteLast < 10) {
							sprintf(weatherPrintRemoteT, "+%.1f", temperatureRemoteLast);
							LCD_Font(362, 90, weatherPrintRemoteT, &DejaVu_Sans_48, 1, CYAN);
						}
						else if (temperatureRemoteLast >= 10) {
							sprintf(weatherPrintRemoteT, "+%.1f", temperatureRemoteLast);
							LCD_Font(330, 90, weatherPrintRemoteT, &DejaVu_Sans_48, 1, CYAN);
						}

						char weatherPrintRemoteH[4];

						if (humidityRemoteLast >= 10) {
							sprintf(weatherPrintRemoteH, "%.1f", humidityRemoteLast);
							LCD_Font(371, 40, weatherPrintRemoteH, &DejaVu_Sans_48, 1, BLACK);
						}
						else if (humidityRemoteLast < 10) {
							sprintf(weatherPrintRemoteH, "%.1f", humidityRemoteLast);
							LCD_Font(403, 40, weatherPrintRemoteH, &DejaVu_Sans_48, 1, BLACK);
						}

						humidityRemoteLast = humidityRemote;

						if (humidityRemoteLast >= 10) {
							sprintf(weatherPrintRemoteH, "%.1f", humidityRemoteLast);
							LCD_Font(371, 40, weatherPrintRemoteH, &DejaVu_Sans_48, 1, CYAN);
						}
						else if (humidityRemoteLast < 10) {
							sprintf(weatherPrintRemoteH, "%.1f", humidityRemoteLast);
							LCD_Font(403, 40, weatherPrintRemoteH, &DejaVu_Sans_48, 1, CYAN);
						}
					}
				}
				rx_index = 0;
				for (uint8_t i = 0; i < UART_RX_BUFFER_SIZE; i++) rx_buffer[i] = 0;
			}

			remoteSensorLastUpdate++;

			if (remoteSensorLastUpdate > WAIT_REMOTE_SENSOR_SEC) {

				if (temperatureRemoteLast && humidityRemoteLast) {

					char weatherPrintRemoteT[5];
					if (temperatureRemoteLast <= -10) {
						sprintf(weatherPrintRemoteT, "%.1f", temperatureRemoteLast);
						LCD_Font(353, 90, weatherPrintRemoteT, &DejaVu_Sans_48, 1, BLACK);
					}
					else if (temperatureRemoteLast < 0 && temperatureRemoteLast > -10) {
						sprintf(weatherPrintRemoteT, "%.1f", temperatureRemoteLast);
						LCD_Font(385, 90, weatherPrintRemoteT, &DejaVu_Sans_48, 1, BLACK);
					}
					else if (temperatureRemoteLast > 0 && temperatureRemoteLast < 10) {
						sprintf(weatherPrintRemoteT, "+%.1f", temperatureRemoteLast);
						LCD_Font(362, 90, weatherPrintRemoteT, &DejaVu_Sans_48, 1, BLACK);
					}
					else if (temperatureRemoteLast >= 10) {
						sprintf(weatherPrintRemoteT, "+%.1f", temperatureRemoteLast);
						LCD_Font(330, 90, weatherPrintRemoteT, &DejaVu_Sans_48, 1, BLACK);
					}

					char weatherPrintRemoteH[4];

					if (humidityRemoteLast >= 10) {
						sprintf(weatherPrintRemoteH, "%.1f", humidityRemoteLast);
						LCD_Font(371, 40, weatherPrintRemoteH, &DejaVu_Sans_48, 1, BLACK);
					}
					else if (humidityRemoteLast < 10) {
						sprintf(weatherPrintRemoteH, "%.1f", humidityRemoteLast);
						LCD_Font(403, 40, weatherPrintRemoteH, &DejaVu_Sans_48, 1, BLACK);
					}

					temperatureRemoteLast = 0;
					humidityRemoteLast = 0;
				}
			}
			rtcSecLast = rtcSec;
		}

		/* USER CODE END WHILE */

	}
}

void SystemClock_Config(void)
{
	RCC_OscInitTypeDef RCC_OscInitStruct = {0};
	RCC_ClkInitTypeDef RCC_ClkInitStruct = {0};

	/** Configure the main internal regulator output voltage
	 */
	__HAL_RCC_PWR_CLK_ENABLE();
	__HAL_PWR_VOLTAGESCALING_CONFIG(PWR_REGULATOR_VOLTAGE_SCALE1);
	/** Initializes the RCC Oscillators according to the specified parameters
	 * in the RCC_OscInitTypeDef structure.
	 */
	RCC_OscInitStruct.OscillatorType = RCC_OSCILLATORTYPE_LSI|RCC_OSCILLATORTYPE_HSE
			|RCC_OSCILLATORTYPE_LSE;
	RCC_OscInitStruct.HSEState = RCC_HSE_ON;
	RCC_OscInitStruct.LSEState = RCC_LSE_ON;
	RCC_OscInitStruct.LSIState = RCC_LSI_ON;
	RCC_OscInitStruct.PLL.PLLState = RCC_PLL_ON;
	RCC_OscInitStruct.PLL.PLLSource = RCC_PLLSOURCE_HSE;
	RCC_OscInitStruct.PLL.PLLM = 4;
	RCC_OscInitStruct.PLL.PLLN = 168;
	RCC_OscInitStruct.PLL.PLLP = RCC_PLLP_DIV2;
	RCC_OscInitStruct.PLL.PLLQ = 7;
	if (HAL_RCC_OscConfig(&RCC_OscInitStruct) != HAL_OK)
	{
		Error_Handler();
	}
	/** Initializes the CPU, AHB and APB buses clocks
	 */
	RCC_ClkInitStruct.ClockType = RCC_CLOCKTYPE_HCLK|RCC_CLOCKTYPE_SYSCLK
			|RCC_CLOCKTYPE_PCLK1|RCC_CLOCKTYPE_PCLK2;
	RCC_ClkInitStruct.SYSCLKSource = RCC_SYSCLKSOURCE_PLLCLK;
	RCC_ClkInitStruct.AHBCLKDivider = RCC_SYSCLK_DIV1;
	RCC_ClkInitStruct.APB1CLKDivider = RCC_HCLK_DIV4;
	RCC_ClkInitStruct.APB2CLKDivider = RCC_HCLK_DIV2;

	if (HAL_RCC_ClockConfig(&RCC_ClkInitStruct, FLASH_LATENCY_5) != HAL_OK)
	{
		Error_Handler();
	}
}

static void MX_DAC_Init(void)
{

	DAC_ChannelConfTypeDef sConfig = {0};

	/** DAC Initialization
	 */
	hdac.Instance = DAC;
	if (HAL_DAC_Init(&hdac) != HAL_OK)
	{
		Error_Handler();
	}
	/** DAC channel OUT1 config
	 */
	sConfig.DAC_Trigger = DAC_TRIGGER_T6_TRGO;
	sConfig.DAC_OutputBuffer = DAC_OUTPUTBUFFER_ENABLE;
	if (HAL_DAC_ConfigChannel(&hdac, &sConfig, DAC_CHANNEL_1) != HAL_OK)
	{
		Error_Handler();
	}
	/** DAC channel OUT2 config
	 */
	sConfig.DAC_Trigger = DAC_TRIGGER_T7_TRGO;
	if (HAL_DAC_ConfigChannel(&hdac, &sConfig, DAC_CHANNEL_2) != HAL_OK)
	{
		Error_Handler();
	}

}

static void MX_I2C1_Init(void)
{

	hi2c1.Instance = I2C1;
	hi2c1.Init.ClockSpeed = 400000;
	hi2c1.Init.DutyCycle = I2C_DUTYCYCLE_2;
	hi2c1.Init.OwnAddress1 = 0;
	hi2c1.Init.AddressingMode = I2C_ADDRESSINGMODE_7BIT;
	hi2c1.Init.DualAddressMode = I2C_DUALADDRESS_DISABLE;
	hi2c1.Init.OwnAddress2 = 0;
	hi2c1.Init.GeneralCallMode = I2C_GENERALCALL_DISABLE;
	hi2c1.Init.NoStretchMode = I2C_NOSTRETCH_DISABLE;
	if (HAL_I2C_Init(&hi2c1) != HAL_OK)
	{
		Error_Handler();
	}

}

static void MX_IWDG_Init(void)
{

	hiwdg.Instance = IWDG;
	hiwdg.Init.Prescaler = IWDG_PRESCALER_256;
	hiwdg.Init.Reload = 4095;
	if (HAL_IWDG_Init(&hiwdg) != HAL_OK)
	{
		Error_Handler();
	}

}

static void MX_RTC_Init(void)
{

	RTC_TimeTypeDef sTime = {0};
	RTC_DateTypeDef sDate = {0};

	/** Initialize RTC Only
	 */
	hrtc.Instance = RTC;
	hrtc.Init.HourFormat = RTC_HOURFORMAT_24;
	hrtc.Init.AsynchPrediv = 127;
	hrtc.Init.SynchPrediv = 255;
	hrtc.Init.OutPut = RTC_OUTPUT_DISABLE;
	hrtc.Init.OutPutPolarity = RTC_OUTPUT_POLARITY_HIGH;
	hrtc.Init.OutPutType = RTC_OUTPUT_TYPE_OPENDRAIN;
	if (HAL_RTC_Init(&hrtc) != HAL_OK)
	{
		Error_Handler();
	}

	/** Initialize RTC and set the Time and Date
	 */
	sTime.Hours = 0;
	sTime.Minutes = 0;
	sTime.Seconds = 0;
	sTime.DayLightSaving = RTC_DAYLIGHTSAVING_NONE;
	sTime.StoreOperation = RTC_STOREOPERATION_RESET;
	if (HAL_RTC_SetTime(&hrtc, &sTime, RTC_FORMAT_BIN) != HAL_OK)
	{
		Error_Handler();
	}
	sDate.WeekDay = RTC_WEEKDAY_MONDAY;
	sDate.Month = RTC_MONTH_JANUARY;
	sDate.Date = 1;
	sDate.Year = 0;

	if (HAL_RTC_SetDate(&hrtc, &sDate, RTC_FORMAT_BIN) != HAL_OK)
	{
		Error_Handler();
	}

}

static void MX_SPI1_Init(void)
{

	/* SPI1 parameter configuration*/
	hspi1.Instance = SPI1;
	hspi1.Init.Mode = SPI_MODE_MASTER;
	hspi1.Init.Direction = SPI_DIRECTION_2LINES;
	hspi1.Init.DataSize = SPI_DATASIZE_8BIT;
	hspi1.Init.CLKPolarity = SPI_POLARITY_LOW;
	hspi1.Init.CLKPhase = SPI_PHASE_1EDGE;
	hspi1.Init.NSS = SPI_NSS_SOFT;
	hspi1.Init.BaudRatePrescaler = SPI_BAUDRATEPRESCALER_2;
	hspi1.Init.FirstBit = SPI_FIRSTBIT_MSB;
	hspi1.Init.TIMode = SPI_TIMODE_DISABLE;
	hspi1.Init.CRCCalculation = SPI_CRCCALCULATION_DISABLE;
	hspi1.Init.CRCPolynomial = 10;
	if (HAL_SPI_Init(&hspi1) != HAL_OK)
	{
		Error_Handler();
	}

}

static void MX_SPI2_Init(void)
{

	/* SPI2 parameter configuration*/
	hspi2.Instance = SPI2;
	hspi2.Init.Mode = SPI_MODE_MASTER;
	hspi2.Init.Direction = SPI_DIRECTION_2LINES;
	hspi2.Init.DataSize = SPI_DATASIZE_8BIT;
	hspi2.Init.CLKPolarity = SPI_POLARITY_LOW;
	hspi2.Init.CLKPhase = SPI_PHASE_1EDGE;
	hspi2.Init.NSS = SPI_NSS_HARD_OUTPUT;
	hspi2.Init.BaudRatePrescaler = SPI_BAUDRATEPRESCALER_256;
	hspi2.Init.FirstBit = SPI_FIRSTBIT_MSB;
	hspi2.Init.TIMode = SPI_TIMODE_DISABLE;
	hspi2.Init.CRCCalculation = SPI_CRCCALCULATION_DISABLE;
	hspi2.Init.CRCPolynomial = 10;
	if (HAL_SPI_Init(&hspi2) != HAL_OK)
	{
		Error_Handler();
	}

}

static void MX_SPI3_Init(void)
{

	/* SPI3 parameter configuration*/
	hspi3.Instance = SPI3;
	hspi3.Init.Mode = SPI_MODE_MASTER;
	hspi3.Init.Direction = SPI_DIRECTION_2LINES;
	hspi3.Init.DataSize = SPI_DATASIZE_8BIT;
	hspi3.Init.CLKPolarity = SPI_POLARITY_LOW;
	hspi3.Init.CLKPhase = SPI_PHASE_1EDGE;
	hspi3.Init.NSS = SPI_NSS_HARD_OUTPUT;
	hspi3.Init.BaudRatePrescaler = SPI_BAUDRATEPRESCALER_256;
	hspi3.Init.FirstBit = SPI_FIRSTBIT_MSB;
	hspi3.Init.TIMode = SPI_TIMODE_DISABLE;
	hspi3.Init.CRCCalculation = SPI_CRCCALCULATION_DISABLE;
	hspi3.Init.CRCPolynomial = 10;
	if (HAL_SPI_Init(&hspi3) != HAL_OK)
	{
		Error_Handler();
	}

}

static void MX_TIM6_Init(void)
{

	TIM_MasterConfigTypeDef sMasterConfig = {0};

	htim6.Instance = TIM6;
	htim6.Init.Prescaler = 21-1;
	htim6.Init.CounterMode = TIM_COUNTERMODE_UP;
	htim6.Init.Period = 10-1;
	htim6.Init.AutoReloadPreload = TIM_AUTORELOAD_PRELOAD_DISABLE;
	if (HAL_TIM_Base_Init(&htim6) != HAL_OK)
	{
		Error_Handler();
	}
	sMasterConfig.MasterOutputTrigger = TIM_TRGO_UPDATE;
	sMasterConfig.MasterSlaveMode = TIM_MASTERSLAVEMODE_DISABLE;
	if (HAL_TIMEx_MasterConfigSynchronization(&htim6, &sMasterConfig) != HAL_OK)
	{
		Error_Handler();
	}

}

static void MX_TIM7_Init(void)
{

	TIM_MasterConfigTypeDef sMasterConfig = {0};

	htim7.Instance = TIM7;
	htim7.Init.Prescaler = 21-1;
	htim7.Init.CounterMode = TIM_COUNTERMODE_UP;
	htim7.Init.Period = 10-1;
	htim7.Init.AutoReloadPreload = TIM_AUTORELOAD_PRELOAD_DISABLE;
	if (HAL_TIM_Base_Init(&htim7) != HAL_OK)
	{
		Error_Handler();
	}
	sMasterConfig.MasterOutputTrigger = TIM_TRGO_UPDATE;
	sMasterConfig.MasterSlaveMode = TIM_MASTERSLAVEMODE_DISABLE;
	if (HAL_TIMEx_MasterConfigSynchronization(&htim7, &sMasterConfig) != HAL_OK)
	{
		Error_Handler();
	}

}

static void MX_USART1_UART_Init(void)
{

	huart1.Instance = USART1;
	huart1.Init.BaudRate = 115200;
	huart1.Init.WordLength = UART_WORDLENGTH_8B;
	huart1.Init.StopBits = UART_STOPBITS_1;
	huart1.Init.Parity = UART_PARITY_NONE;
	huart1.Init.Mode = UART_MODE_TX_RX;
	huart1.Init.HwFlowCtl = UART_HWCONTROL_NONE;
	huart1.Init.OverSampling = UART_OVERSAMPLING_16;
	if (HAL_UART_Init(&huart1) != HAL_OK)
	{
		Error_Handler();
	}

}

static void MX_DMA_Init(void)
{

	/* DMA controller clock enable */
	__HAL_RCC_DMA1_CLK_ENABLE();

	/* DMA interrupt init */
	/* DMA1_Stream5_IRQn interrupt configuration */
	HAL_NVIC_SetPriority(DMA1_Stream5_IRQn, 0, 0);
	HAL_NVIC_EnableIRQ(DMA1_Stream5_IRQn);
	/* DMA1_Stream6_IRQn interrupt configuration */
	HAL_NVIC_SetPriority(DMA1_Stream6_IRQn, 0, 0);
	HAL_NVIC_EnableIRQ(DMA1_Stream6_IRQn);

}

static void MX_GPIO_Init(void)
{
	GPIO_InitTypeDef GPIO_InitStruct = {0};

	/* GPIO Ports Clock Enable */
	__HAL_RCC_GPIOE_CLK_ENABLE();
	__HAL_RCC_GPIOC_CLK_ENABLE();
	__HAL_RCC_GPIOH_CLK_ENABLE();
	__HAL_RCC_GPIOA_CLK_ENABLE();
	__HAL_RCC_GPIOB_CLK_ENABLE();
	__HAL_RCC_GPIOD_CLK_ENABLE();

	/*Configure GPIO pin Output Level */
	HAL_GPIO_WritePin(LED_A_GPIO_Port, LED_A_Pin, GPIO_PIN_SET);

	/*Configure GPIO pin Output Level */
	HAL_GPIO_WritePin(LED_B_GPIO_Port, LED_B_Pin, GPIO_PIN_RESET);

	/*Configure GPIO pin Output Level */
	HAL_GPIO_WritePin(FLASH25Q_CS_GPIO_Port, FLASH25Q_CS_Pin, GPIO_PIN_SET);

	/*Configure GPIO pin Output Level */
	HAL_GPIO_WritePin(GPIOC, SD_D0_Pin|SD_D1_Pin, GPIO_PIN_RESET);

	/*Configure GPIO pin Output Level */
	HAL_GPIO_WritePin(SD_CMD_GPIO_Port, SD_CMD_Pin, GPIO_PIN_RESET);

	/*Configure GPIO pins : KEY_1_Pin KEY_0_Pin */
	GPIO_InitStruct.Pin = KEY_1_Pin|KEY_0_Pin;
	GPIO_InitStruct.Mode = GPIO_MODE_INPUT;
	GPIO_InitStruct.Pull = GPIO_NOPULL;
	HAL_GPIO_Init(GPIOE, &GPIO_InitStruct);

	/*Configure GPIO pins : LED_A_Pin LED_B_Pin */
	GPIO_InitStruct.Pin = LED_A_Pin|LED_B_Pin;
	GPIO_InitStruct.Mode = GPIO_MODE_OUTPUT_PP;
	GPIO_InitStruct.Pull = GPIO_NOPULL;
	GPIO_InitStruct.Speed = GPIO_SPEED_FREQ_LOW;
	HAL_GPIO_Init(GPIOA, &GPIO_InitStruct);

	/*Configure GPIO pin : TOUCH_IRQ_Pin */
	GPIO_InitStruct.Pin = TOUCH_IRQ_Pin;
	GPIO_InitStruct.Mode = GPIO_MODE_INPUT;
	GPIO_InitStruct.Pull = GPIO_PULLUP;
	HAL_GPIO_Init(TOUCH_IRQ_GPIO_Port, &GPIO_InitStruct);

	/*Configure GPIO pin : FLASH25Q_CS_Pin */
	GPIO_InitStruct.Pin = FLASH25Q_CS_Pin;
	GPIO_InitStruct.Mode = GPIO_MODE_OUTPUT_PP;
	GPIO_InitStruct.Pull = GPIO_PULLUP;
	GPIO_InitStruct.Speed = GPIO_SPEED_FREQ_VERY_HIGH;
	HAL_GPIO_Init(FLASH25Q_CS_GPIO_Port, &GPIO_InitStruct);

	/*Configure GPIO pins : SD_D0_Pin SD_D1_Pin */
	GPIO_InitStruct.Pin = SD_D0_Pin|SD_D1_Pin;
	GPIO_InitStruct.Mode = GPIO_MODE_OUTPUT_PP;
	GPIO_InitStruct.Pull = GPIO_NOPULL;
	GPIO_InitStruct.Speed = GPIO_SPEED_FREQ_LOW;
	HAL_GPIO_Init(GPIOC, &GPIO_InitStruct);

	/*Configure GPIO pin : SD_CMD_Pin */
	GPIO_InitStruct.Pin = SD_CMD_Pin;
	GPIO_InitStruct.Mode = GPIO_MODE_OUTPUT_PP;
	GPIO_InitStruct.Pull = GPIO_NOPULL;
	GPIO_InitStruct.Speed = GPIO_SPEED_FREQ_LOW;
	HAL_GPIO_Init(SD_CMD_GPIO_Port, &GPIO_InitStruct);

}

/* FSMC initialization function */
static void MX_FSMC_Init(void)
{

	FSMC_NORSRAM_TimingTypeDef Timing = {0};

	/** Perform the SRAM1 memory initialization sequence
	 */
	hsram1.Instance = FSMC_NORSRAM_DEVICE;
	hsram1.Extended = FSMC_NORSRAM_EXTENDED_DEVICE;
	/* hsram1.Init */
	hsram1.Init.NSBank = FSMC_NORSRAM_BANK1;
	hsram1.Init.DataAddressMux = FSMC_DATA_ADDRESS_MUX_DISABLE;
	hsram1.Init.MemoryType = FSMC_MEMORY_TYPE_SRAM;
	hsram1.Init.MemoryDataWidth = FSMC_NORSRAM_MEM_BUS_WIDTH_16;
	hsram1.Init.BurstAccessMode = FSMC_BURST_ACCESS_MODE_DISABLE;
	hsram1.Init.WaitSignalPolarity = FSMC_WAIT_SIGNAL_POLARITY_LOW;
	hsram1.Init.WrapMode = FSMC_WRAP_MODE_DISABLE;
	hsram1.Init.WaitSignalActive = FSMC_WAIT_TIMING_BEFORE_WS;
	hsram1.Init.WriteOperation = FSMC_WRITE_OPERATION_ENABLE;
	hsram1.Init.WaitSignal = FSMC_WAIT_SIGNAL_DISABLE;
	hsram1.Init.ExtendedMode = FSMC_EXTENDED_MODE_DISABLE;
	hsram1.Init.AsynchronousWait = FSMC_ASYNCHRONOUS_WAIT_DISABLE;
	hsram1.Init.WriteBurst = FSMC_WRITE_BURST_DISABLE;
	hsram1.Init.PageSize = FSMC_PAGE_SIZE_NONE;
	/* Timing */
	Timing.AddressSetupTime = 2;
	Timing.AddressHoldTime = 15;
	Timing.DataSetupTime = 5;
	Timing.BusTurnAroundDuration = 2;
	Timing.CLKDivision = 16;
	Timing.DataLatency = 17;
	Timing.AccessMode = FSMC_ACCESS_MODE_A;
	/* ExtTiming */

	if (HAL_SRAM_Init(&hsram1, &Timing, NULL) != HAL_OK)
	{
		Error_Handler( );
	}

}

/* USER CODE BEGIN 4 */
//void HAL_TIM_PeriodElapsedCallback(TIM_HandleTypeDef* htim)
//{
//    micros++;
//}
/* USER CODE END 4 */

void Error_Handler(void)
{
	__disable_irq();
	while (1)
	{
	}
}
